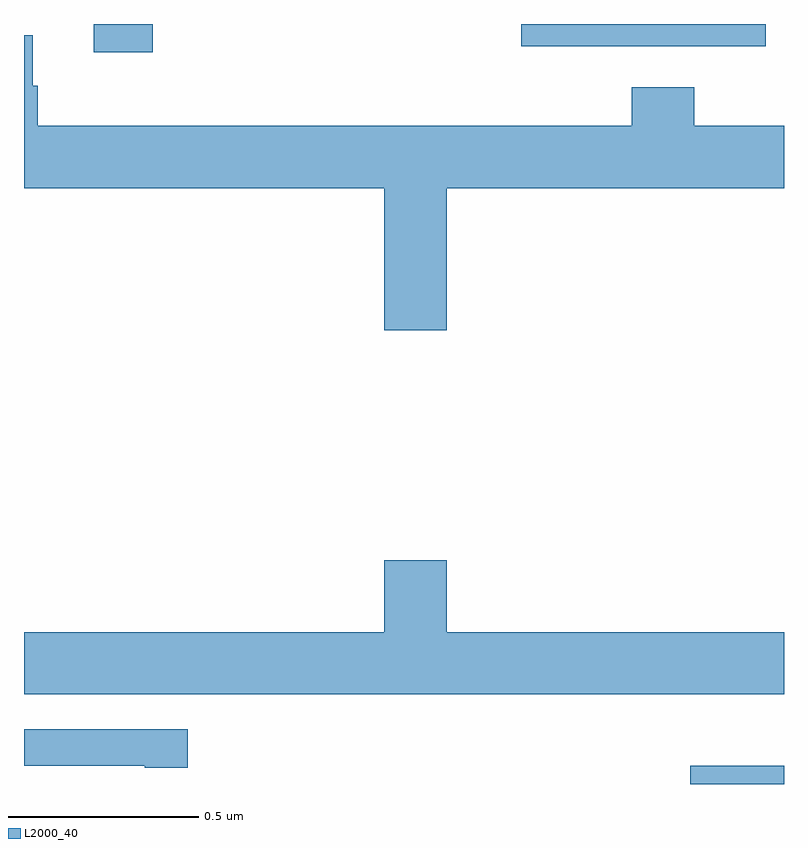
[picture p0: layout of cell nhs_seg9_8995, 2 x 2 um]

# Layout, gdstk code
import gdstk
lib = gdstk.Library(unit=1e-6, precision=1e-09)
def R(c, l, rs):  # rectangles x0, y0, x1, y1
    for r in rs: c.add(gdstk.rectangle(r[:2], r[2:], *l))
def P(c, l, *ps):  # polygons
    for p in ps: c.add(gdstk.Polygon(p, *l))
L2000_40 = (2000, 40)

nhs_seg9_8995 = lib.new_cell('nhs_seg9_8995')
R(nhs_seg9_8995, L2000_40, [(225.753,1213.5,226,1213.548), (224.183,1215.426,224.339,1215.5), (225.309,1215.441,225.952,1215.5)])
P(nhs_seg9_8995, L2000_40, [(225.112,1215.068),(226,1215.068),(226,1215.232),(225.764,1215.232),(225.764,1215.334),(225.599,1215.334),(225.599,1215.232),(224.036,1215.232),(224.036,1215.338),(224.023,1215.338),(224.023,1215.47),(224,1215.47),(224,1215.068),(224.948,1215.068),(224.948,1214.694),(225.112,1214.694)],
  [(226,1213.9),(225.112,1213.9),(225.112,1214.089),(224.948,1214.089),(224.948,1213.9),(224,1213.9),(224,1213.736),(226,1213.736)],
  [(224.431,1213.644),(224,1213.644),(224,1213.548),(224.318,1213.548),(224.318,1213.543),(224.431,1213.543)])

lib.write_gds('nhs_seg9_8995.gds')
